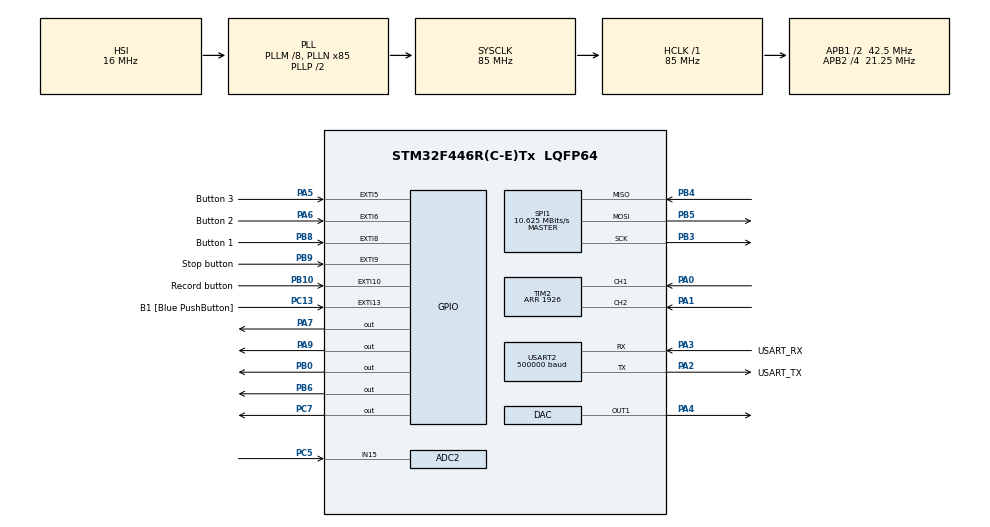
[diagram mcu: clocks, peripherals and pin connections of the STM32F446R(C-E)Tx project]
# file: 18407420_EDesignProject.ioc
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ADC2.Channel-1\#ChannelRegularConversion=ADC_CHANNEL_15
ADC2.DMAContinuousRequests=ENABLE
ADC2.ExternalTrigConv=ADC_EXTERNALTRIGCONV_T2_TRGO
ADC2.NbrOfConversionFlag=1
ADC2.Rank-1\#ChannelRegularConversion=1
ADC2.Resolution=ADC_RESOLUTION_8B
ADC2.SamplingTime-1\#ChannelRegularConversion=ADC_SAMPLETIME_3CYCLES
DAC.DAC_Trigger=DAC_TRIGGER_T6_TRGO
Dma.ADC2.2.Direction=DMA_PERIPH_TO_MEMORY
Dma.ADC2.2.FIFOMode=DMA_FIFOMODE_DISABLE
Dma.ADC2.2.Instance=DMA2_Stream2
Dma.ADC2.2.MemDataAlignment=DMA_MDATAALIGN_BYTE
Dma.ADC2.2.MemInc=DMA_MINC_ENABLE
Dma.ADC2.2.Mode=DMA_CIRCULAR
Dma.ADC2.2.PeriphDataAlignment=DMA_PDATAALIGN_BYTE
Dma.ADC2.2.PeriphInc=DMA_PINC_DISABLE
Dma.ADC2.2.Priority=DMA_PRIORITY_LOW
Dma.DAC1.0.Direction=DMA_MEMORY_TO_PERIPH
Dma.DAC1.0.FIFOMode=DMA_FIFOMODE_DISABLE
Dma.DAC1.0.Instance=DMA1_Stream5
Dma.DAC1.0.MemDataAlignment=DMA_MDATAALIGN_HALFWORD
Dma.DAC1.0.MemInc=DMA_MINC_ENABLE
Dma.DAC1.0.Mode=DMA_NORMAL
Dma.DAC1.0.PeriphDataAlignment=DMA_PDATAALIGN_HALFWORD
Dma.DAC1.0.PeriphInc=DMA_PINC_DISABLE
Dma.DAC1.0.Priority=DMA_PRIORITY_VERY_HIGH
Dma.Request0=DAC1
Dma.Request1=USART2_TX
Dma.Request2=ADC2
Dma.USART2_TX.1.Direction=DMA_MEMORY_TO_PERIPH
Dma.USART2_TX.1.FIFOMode=DMA_FIFOMODE_DISABLE
Dma.USART2_TX.1.Instance=DMA1_Stream6
Dma.USART2_TX.1.MemDataAlignment=DMA_MDATAALIGN_BYTE
Dma.USART2_TX.1.MemInc=DMA_MINC_ENABLE
Dma.USART2_TX.1.Mode=DMA_NORMAL
Dma.USART2_TX.1.PeriphDataAlignment=DMA_PDATAALIGN_BYTE
Dma.USART2_TX.1.PeriphInc=DMA_PINC_DISABLE
Dma.USART2_TX.1.Priority=DMA_PRIORITY_HIGH
Mcu.Family=STM32F4
Mcu.Name=STM32F446R(C-E)Tx
Mcu.Package=LQFP64
NVIC.DMA1_Stream5_IRQn=true\:0\:0\:false\:false\:true\:false\:true
NVIC.DMA1_Stream6_IRQn=true\:0\:0\:false\:false\:true\:false\:true
NVIC.DMA2_Stream2_IRQn=true\:0\:0\:false\:false\:true\:false\:true
NVIC.EXTI15_10_IRQn=true\:0\:0\:false\:false\:true\:true\:true
NVIC.EXTI9_5_IRQn=true\:0\:0\:false\:false\:true\:true\:true
NVIC.PriorityGroup=NVIC_PRIORITYGROUP_0
NVIC.TIM3_IRQn=true\:0\:0\:false\:false\:true\:true\:true
NVIC.USART2_IRQn=true\:0\:0\:false\:false\:true\:true\:true
PA0-WKUP.Signal=S_TIM2_CH1_ETR
PA1.Signal=S_TIM2_CH2
PA13.GPIO_Label=TMS
PA13.Mode=Serial_Wire
PA13.Signal=SYS_JTMS-SWDIO
PA14.GPIO_Label=TCK
PA14.Mode=Serial_Wire
PA14.Signal=SYS_JTCK-SWCLK
PA2.GPIO_Label=USART_TX
PA2.Mode=Asynchronous
PA2.Signal=USART2_TX
PA3.GPIO_Label=USART_RX
PA3.Mode=Asynchronous
PA3.Signal=USART2_RX
PA4.Signal=COMP_DAC1_group
PA5.GPIO_Label=Button 3
PA5.GPIO_ModeDefaultEXTI=GPIO_MODE_IT_FALLING
PA5.GPIO_PuPd=GPIO_PULLDOWN
PA5.Signal=GPXTI5
PA6.GPIO_Label=Button 2
PA6.GPIO_ModeDefaultEXTI=GPIO_MODE_IT_FALLING
PA6.GPIO_PuPd=GPIO_PULLDOWN
PA6.Signal=GPXTI6
PA7.Signal=GPIO_Output
PA9.Signal=GPIO_Output
PB0.Signal=GPIO_Output
PB10.GPIO_Label=Record button
PB10.GPIO_ModeDefaultEXTI=GPIO_MODE_IT_RISING_FALLING
PB10.GPIO_PuPd=GPIO_PULLDOWN
PB10.Signal=GPXTI10
PB3.Mode=Full_Duplex_Master
PB3.Signal=SPI1_SCK
PB4.Mode=Full_Duplex_Master
PB4.Signal=SPI1_MISO
PB5.Mode=Full_Duplex_Master
PB5.Signal=SPI1_MOSI
PB6.Signal=GPIO_Output
PB8.GPIO_Label=Button 1
PB8.GPIO_ModeDefaultEXTI=GPIO_MODE_IT_FALLING
PB8.GPIO_PuPd=GPIO_PULLDOWN
PB8.Signal=GPXTI8
PB9.GPIO_Label=Stop button
PB9.GPIO_ModeDefaultEXTI=GPIO_MODE_IT_FALLING
PB9.GPIO_PuPd=GPIO_PULLDOWN
PB9.Signal=GPXTI9
PC13.GPIO_Label=B1 [Blue PushButton]
PC13.GPIO_ModeDefaultEXTI=GPIO_MODE_IT_FALLING
PC13.Signal=GPXTI13
PC14-OSC32_IN.Signal=RCC_OSC32_IN
PC15-OSC32_OUT.Signal=RCC_OSC32_OUT
PC5.Signal=ADCx_IN15
PC7.Signal=GPIO_Output
PH0-OSC_IN.Mode=HSE-External-Oscillator
PH0-OSC_IN.Signal=RCC_OSC_IN
PH1-OSC_OUT.Mode=HSE-External-Oscillator
PH1-OSC_OUT.Signal=RCC_OSC_OUT
ProjectManager.HeapSize=0x200
ProjectManager.StackSize=0x400
ProjectManager.TargetToolchain=STM32CubeIDE
RCC.48MHZClocksFreq_Value=84000000
RCC.AHBFreq_Value=85000000
RCC.APB1CLKDivider=RCC_HCLK_DIV2
RCC.APB1Freq_Value=42500000
RCC.APB1TimFreq_Value=85000000
RCC.APB2CLKDivider=RCC_HCLK_DIV4
RCC.APB2Freq_Value=21250000
RCC.APB2TimFreq_Value=42500000
RCC.CortexFreq_Value=85000000
RCC.FLatency-AdvancedSettings=FLASH_LATENCY_2
RCC.HCLKFreq_Value=85000000
RCC.HSE_VALUE=8000000
RCC.HSI_VALUE=16000000
RCC.PLLM=8
RCC.PLLN=85
RCC.SYSCLKFreq_VALUE=85000000
RCC.SYSCLKSource=RCC_SYSCLKSOURCE_PLLCLK
RCC.USBFreq_Value=85000000
RCC.VCOOutputFreq_Value=170000000
SH.ADCx_IN15.0=ADC2_IN15,IN15
SH.COMP_DAC1_group.0=DAC_OUT1,DAC_OUT1
SH.S_TIM2_CH1_ETR.0=TIM2_CH1,Input_Capture1_from_TI1
SH.S_TIM2_CH2.0=TIM2_CH2,Input_Capture2_from_TI2
SPI1.BaudRatePrescaler=SPI_BAUDRATEPRESCALER_2
SPI1.CalculateBaudRate=10.625 MBits/s
SPI1.Direction=SPI_DIRECTION_2LINES
SPI1.Mode=SPI_MODE_MASTER
SPI1.VirtualType=VM_MASTER
TIM2.Channel-Input_Capture1_from_TI1=TIM_CHANNEL_1
TIM2.Channel-Input_Capture2_from_TI2=TIM_CHANNEL_2
TIM2.Period=1926
TIM2.TIM_MasterOutputTrigger=TIM_TRGO_UPDATE
TIM3.Period=4277
TIM3.Prescaler=4968
TIM3.TIM_MasterOutputTrigger=TIM_TRGO_UPDATE
TIM3.TIM_MasterSlaveMode=TIM_MASTERSLAVEMODE_DISABLE
TIM6.Period=1926
TIM6.TIM_MasterOutputTrigger=TIM_TRGO_UPDATE
USART2.BaudRate=500000
USART2.VirtualMode=VM_ASYNC
VP_TIM2_VS_ClockSourceINT.Mode=Internal
VP_TIM3_VS_ClockSourceINT.Mode=Internal
VP_TIM3_VS_ClockSourceITR.Mode=TriggerSource_ITR0
VP_TIM6_VS_ClockSourceINT.Mode=Enable_Timer
board=NUCLEO-F446RE

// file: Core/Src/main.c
/* USER CODE BEGIN Header */
/**
  ******************************************************************************
  * @file           : main.c
  * @brief          : Main program body
  ******************************************************************************
  * @attention
  *
  * <h2><center>&copy; Copyright (c) 2020 STMicroelectronics.
  * All rights reserved.</center></h2>
  *
  * This software component is licensed by ST under BSD 3-Clause license,
  * the "License"; You may not use this file except in compliance with the
  * License. You may obtain a copy of the License at:
  *                        opensource.org/licenses/BSD-3-Clause
  *
  ******************************************************************************
  */
/* USER CODE END Header */
#include "main.h"

/* USER CODE BEGIN Includes */
#include "MyFunctions.h"
#include "sinewave.h"
/* USER CODE END Includes */

ADC_HandleTypeDef hadc2;
DMA_HandleTypeDef hdma_adc2;

DAC_HandleTypeDef hdac;
DMA_HandleTypeDef hdma_dac1;

SPI_HandleTypeDef hspi1;

TIM_HandleTypeDef htim2;
TIM_HandleTypeDef htim3;
TIM_HandleTypeDef htim6;

UART_HandleTypeDef huart2;
DMA_HandleTypeDef hdma_usart2_tx;

/* USER CODE BEGIN PV */

enum buttonstate{Released, Pressed};

extern volatile uint8_t Record_button;
extern volatile uint8_t button1;
extern volatile uint8_t button2;
extern volatile uint8_t button3;
extern volatile uint8_t Stop_button;
volatile uint8_t buttn = 0;

AUDIO_ModeType state = AUDIO_MODE_IDLE;

/* USER CODE END PV */

void SystemClock_Config(void);
static void MX_GPIO_Init(void);
static void MX_DMA_Init(void);
static void MX_USART2_UART_Init(void);
static void MX_TIM3_Init(void);
static void MX_DAC_Init(void);
static void MX_TIM6_Init(void);
static void MX_TIM2_Init(void);
static void MX_ADC2_Init(void);
static void MX_SPI1_Init(void);

/* USER CODE BEGIN 0 */

int32_t tempsample;
int8_t outputbuf[FULLBUFFERSZE];

int32_t average = 128;
int32_t accumulator;
int32_t numavg;
float smoothed_sample;

 void HAL_ADC_ConvCpltCallback(ADC_HandleTypeDef* hadc){

	 huart2.gState = HAL_UART_STATE_READY;

	 for(int i = 512; i < FULLBUFFERSZE; i++){

		 accumulator += myADC_Signal_1[i];
		 tempsample = (int32_t)myADC_Signal_1 - average;
		 smoothed_sample = 0.125f * tempsample + 0.875 * smoothed_sample;
		 tempsample = (int32_t)smoothed_sample;

		 if(tempsample > 127)
			 tempsample = 127;
		 if(tempsample < - 128)
			 tempsample = -128;

		 outputbuf[i] = (int8_t)tempsample;

	 }

	 numavg += 512;

	 if(numavg >= 20480){

		 average = accumulator / 20480;
		 accumulator = 0;
		 numavg = 0;
	 }

	 HAL_UART_Transmit_DMA(&huart2, (int8_t*)outputbuf+DATASIZE, DATASIZE);

 }

 void HAL_ADC_ConvHalfCpltCallback(ADC_HandleTypeDef* hadc){

	 huart2.gState = HAL_UART_STATE_READY;

	 for(int i = 0; i < DATASIZE; i++){

		 accumulator += myADC_Signal_1[i];
		 tempsample = (int32_t)myADC_Signal_1 - average;
		 smoothed_sample = 0.125f * tempsample + 0.875 * smoothed_sample;
		 tempsample = (int32_t)smoothed_sample;

		 if(tempsample > 127)
			 tempsample = 127;
		 if(tempsample < - 128)
			 tempsample = -128;

		 outputbuf[i] = (int8_t)tempsample;

	 }

	 numavg += 512;

	 if(numavg >= 20480){

		 average = accumulator / 20480;
		 accumulator = 0;
		 numavg = 0;
	 }

	 HAL_UART_Transmit_DMA(&huart2, (int8_t*)outputbuf, DATASIZE);

 }

 void HAL_DAC_ConvCpltCallbackCh1(DAC_HandleTypeDef* hdac){

	 HAL_DAC_Start_DMA(hdac, DAC_CHANNEL_1, (uint32_t*)myDAC_Signal_1, FULLBUFFERSZE, DAC_ALIGN_12B_R);
	 //wave_fillbuffer(myDAC_Signal+512, buttn, 512);

 }

 void HAL_DAC_ConvHalfCpltCallbackCh1(DAC_HandleTypeDef* hdac){

	 HAL_DAC_Start_DMA(hdac, DAC_CHANNEL_1, (uint32_t*)myDAC_Signal_1, FULLBUFFERSZE, DAC_ALIGN_12B_R);
	 //wave_fillbuffer(myDAC_Signal, buttn, 512);

 }

/* USER CODE END 0 */

int main(void)
{
  /* USER CODE BEGIN 1 */
	 uint8_t SU_ID[10] = {127, 128,'1','8','4','0','7','4','2','0'};

  wave_init();
  /* USER CODE END 1 */

  /* MCU Configuration--------------------------------------------------------*/

  /* Reset of all peripherals, Initializes the Flash interface and the Systick. */
  HAL_Init();

  /* Configure the system clock */
  SystemClock_Config();

  /* Initialize all configured peripherals */
  MX_GPIO_Init();
  MX_DMA_Init();
  MX_USART2_UART_Init();
  MX_TIM3_Init();
  MX_DAC_Init();
  MX_TIM6_Init();
  MX_TIM2_Init();
  MX_ADC2_Init();
  MX_SPI1_Init();
  /* USER CODE BEGIN 2 */
  __HAL_TIM_ENABLE(&htim3);
  __HAL_TIM_ENABLE_IT(&htim3, TIM_IT_UPDATE);

  HAL_UART_Transmit(&huart2, SU_ID, 10, 1000);

  //1. Enable Timer 2, 6:

  HAL_TIM_Base_Start(&htim6);
  HAL_TIM_Base_Start(&htim2);

  HAL_ADC_Start_DMA(&hadc2, (uint32_t*)myADC_Signal_1, FULLBUFFERSZE);
  __HAL_TIM_ENABLE(&htim2);

  //delete code testing123....
  HAL_DAC_Start_DMA(&hdac, DAC_CHANNEL_1, (uint32_t*)myDAC_Signal_1, FULLBUFFERSZE, DAC_ALIGN_12B_R);

  //wave_init();
  /* USER CODE END 2 */

  /* Infinite loop */
  while (1)
  {

    /* USER CODE BEGIN 3 */

           switch(state){

           case AUDIO_MODE_IDLE:

        	   //Check for recording:
        	   //if(Record_button ==  Pressed){ //While it held down check if:

        		   if((button1 == Pressed) && (Record_button ==  Pressed)){
        			   state = AUDIO_MODE_RECORDING_1;
        		   }

        		   else if((button2 == Pressed) && (Record_button ==  Pressed)){
        			   state = AUDIO_MODE_RECORDING_2;
        		   }

        		   else if((button3 == Pressed) && (Record_button ==  Pressed)){
        			   state = AUDIO_MODE_RECORDING_3;
        		   }
        	   //}

                //HAL_Delay(2);

        	   //Playback check:
        	   if((button1 == Pressed)  && (Record_button ==  Released)){

        		   buttn = 1;
        		   state = AUDIO_MODE_PLAYING_1;

        	   }

        	   else if((button2 == Pressed)  && (Record_button ==  Released)){

        		   buttn = 2;
        		   state = AUDIO_MODE_PLAYING_2;

        	   }

        	   else if((button3 == Pressed)  && (Record_button ==  Released)){

        		   buttn = 3;
        		   state = AUDIO_MODE_PLAYING_3;

        	   }

		       break;

           case AUDIO_MODE_RECORDING_1:

        	   uart_transmit_record(1);
        	   HAL_GPIO_WritePin(GPIOA, GPIO_PIN_9, GPIO_PIN_SET);
        	   led_flicker(GPIOA, GPIO_PIN_7);

		       break;

           case AUDIO_MODE_RECORDING_2:

        	   uart_transmit_record(2);
        	   HAL_GPIO_WritePin(GPIOA, GPIO_PIN_9, GPIO_PIN_SET);
        	   led_flicker(GPIOB, GPIO_PIN_6);

		       break;

           case AUDIO_MODE_RECORDING_3:

        	   uart_transmit_record(3);
        	   HAL_GPIO_WritePin(GPIOA, GPIO_PIN_9, GPIO_PIN_SET);
        	   led_flicker(GPIOC, GPIO_PIN_7);

		       break;

           case AUDIO_MODE_PLAYING_1:

        	   uart_transmit_playback(1);
        	   led_flicker(GPIOA, GPIO_PIN_7);

		       break;

           case AUDIO_MODE_PLAYING_2:

        	   uart_transmit_playback(2);
        	   led_flicker(GPIOB, GPIO_PIN_6);

		       break;

           case AUDIO_MODE_PLAYING_3:

        	   uart_transmit_playback(3);
        	   led_flicker(GPIOC, GPIO_PIN_7);

		       break;

           }

	}

  }

//
  /* USER CODE END 3 */

void SystemClock_Config(void)
{
  RCC_OscInitTypeDef RCC_OscInitStruct = {0};
  RCC_ClkInitTypeDef RCC_ClkInitStruct = {0};

  /** Configure the main internal regulator output voltage
  */
  __HAL_RCC_PWR_CLK_ENABLE();
  __HAL_PWR_VOLTAGESCALING_CONFIG(PWR_REGULATOR_VOLTAGE_SCALE3);
  /** Initializes the RCC Oscillators according to the specified parameters
  * in the RCC_OscInitTypeDef structure.
  */
  RCC_OscInitStruct.OscillatorType = RCC_OSCILLATORTYPE_HSI;
  RCC_OscInitStruct.HSIState = RCC_HSI_ON;
  RCC_OscInitStruct.HSICalibrationValue = RCC_HSICALIBRATION_DEFAULT;
  RCC_OscInitStruct.PLL.PLLState = RCC_PLL_ON;
  RCC_OscInitStruct.PLL.PLLSource = RCC_PLLSOURCE_HSI;
  RCC_OscInitStruct.PLL.PLLM = 8;
  RCC_OscInitStruct.PLL.PLLN = 85;
  RCC_OscInitStruct.PLL.PLLP = RCC_PLLP_DIV2;
  RCC_OscInitStruct.PLL.PLLQ = 2;
  RCC_OscInitStruct.PLL.PLLR = 2;
  if (HAL_RCC_OscConfig(&RCC_OscInitStruct) != HAL_OK)
  {
    Error_Handler();
  }
  /** Initializes the CPU, AHB and APB buses clocks
  */
  RCC_ClkInitStruct.ClockType = RCC_CLOCKTYPE_HCLK|RCC_CLOCKTYPE_SYSCLK
                              |RCC_CLOCKTYPE_PCLK1|RCC_CLOCKTYPE_PCLK2;
  RCC_ClkInitStruct.SYSCLKSource = RCC_SYSCLKSOURCE_PLLCLK;
  RCC_ClkInitStruct.AHBCLKDivider = RCC_SYSCLK_DIV1;
  RCC_ClkInitStruct.APB1CLKDivider = RCC_HCLK_DIV2;
  RCC_ClkInitStruct.APB2CLKDivider = RCC_HCLK_DIV4;

  if (HAL_RCC_ClockConfig(&RCC_ClkInitStruct, FLASH_LATENCY_2) != HAL_OK)
  {
    Error_Handler();
  }
}

static void MX_ADC2_Init(void)
{

  ADC_ChannelConfTypeDef sConfig = {0};

  /** Configure the global features of the ADC (Clock, Resolution, Data Alignment and number of conversion)
  */
  hadc2.Instance = ADC2;
  hadc2.Init.ClockPrescaler = ADC_CLOCK_SYNC_PCLK_DIV2;
  hadc2.Init.Resolution = ADC_RESOLUTION_8B;
  hadc2.Init.ScanConvMode = DISABLE;
  hadc2.Init.ContinuousConvMode = DISABLE;
  hadc2.Init.DiscontinuousConvMode = DISABLE;
  hadc2.Init.ExternalTrigConvEdge = ADC_EXTERNALTRIGCONVEDGE_RISING;
  hadc2.Init.ExternalTrigConv = ADC_EXTERNALTRIGCONV_T2_TRGO;
  hadc2.Init.DataAlign = ADC_DATAALIGN_RIGHT;
  hadc2.Init.NbrOfConversion = 1;
  hadc2.Init.DMAContinuousRequests = ENABLE;
  hadc2.Init.EOCSelection = ADC_EOC_SINGLE_CONV;
  if (HAL_ADC_Init(&hadc2) != HAL_OK)
  {
    Error_Handler();
  }
  /** Configure for the selected ADC regular channel its corresponding rank in the sequencer and its sample time.
  */
  sConfig.Channel = ADC_CHANNEL_15;
  sConfig.Rank = 1;
  sConfig.SamplingTime = ADC_SAMPLETIME_3CYCLES;
  if (HAL_ADC_ConfigChannel(&hadc2, &sConfig) != HAL_OK)
  {
    Error_Handler();
  }

}

static void MX_DAC_Init(void)
{

  DAC_ChannelConfTypeDef sConfig = {0};

  /** DAC Initialization
  */
  hdac.Instance = DAC;
  if (HAL_DAC_Init(&hdac) != HAL_OK)
  {
    Error_Handler();
  }
  /** DAC channel OUT1 config
  */
  sConfig.DAC_Trigger = DAC_TRIGGER_T6_TRGO;
  sConfig.DAC_OutputBuffer = DAC_OUTPUTBUFFER_ENABLE;
  if (HAL_DAC_ConfigChannel(&hdac, &sConfig, DAC_CHANNEL_1) != HAL_OK)
  {
    Error_Handler();
  }

}

static void MX_SPI1_Init(void)
{

  /* SPI1 parameter configuration*/
  hspi1.Instance = SPI1;
  hspi1.Init.Mode = SPI_MODE_MASTER;
  hspi1.Init.Direction = SPI_DIRECTION_2LINES;
  hspi1.Init.DataSize = SPI_DATASIZE_8BIT;
  hspi1.Init.CLKPolarity = SPI_POLARITY_LOW;
  hspi1.Init.CLKPhase = SPI_PHASE_1EDGE;
  hspi1.Init.NSS = SPI_NSS_SOFT;
  hspi1.Init.BaudRatePrescaler = SPI_BAUDRATEPRESCALER_2;
  hspi1.Init.FirstBit = SPI_FIRSTBIT_MSB;
  hspi1.Init.TIMode = SPI_TIMODE_DISABLE;
  hspi1.Init.CRCCalculation = SPI_CRCCALCULATION_DISABLE;
  hspi1.Init.CRCPolynomial = 10;
  if (HAL_SPI_Init(&hspi1) != HAL_OK)
  {
    Error_Handler();
  }

}

static void MX_TIM2_Init(void)
{

  TIM_ClockConfigTypeDef sClockSourceConfig = {0};
  TIM_MasterConfigTypeDef sMasterConfig = {0};
  TIM_IC_InitTypeDef sConfigIC = {0};

  htim2.Instance = TIM2;
  htim2.Init.Prescaler = 0;
  htim2.Init.CounterMode = TIM_COUNTERMODE_UP;
  htim2.Init.Period = 1926;
  htim2.Init.ClockDivision = TIM_CLOCKDIVISION_DIV1;
  htim2.Init.AutoReloadPreload = TIM_AUTORELOAD_PRELOAD_DISABLE;
  if (HAL_TIM_Base_Init(&htim2) != HAL_OK)
  {
    Error_Handler();
  }
  sClockSourceConfig.ClockSource = TIM_CLOCKSOURCE_INTERNAL;
  if (HAL_TIM_ConfigClockSource(&htim2, &sClockSourceConfig) != HAL_OK)
  {
    Error_Handler();
  }
  if (HAL_TIM_IC_Init(&htim2) != HAL_OK)
  {
    Error_Handler();
  }
  sMasterConfig.MasterOutputTrigger = TIM_TRGO_UPDATE;
  sMasterConfig.MasterSlaveMode = TIM_MASTERSLAVEMODE_DISABLE;
  if (HAL_TIMEx_MasterConfigSynchronization(&htim2, &sMasterConfig) != HAL_OK)
  {
    Error_Handler();
  }
  sConfigIC.ICPolarity = TIM_INPUTCHANNELPOLARITY_RISING;
  sConfigIC.ICSelection = TIM_ICSELECTION_DIRECTTI;
  sConfigIC.ICPrescaler = TIM_ICPSC_DIV1;
  sConfigIC.ICFilter = 0;
  if (HAL_TIM_IC_ConfigChannel(&htim2, &sConfigIC, TIM_CHANNEL_1) != HAL_OK)
  {
    Error_Handler();
  }
  if (HAL_TIM_IC_ConfigChannel(&htim2, &sConfigIC, TIM_CHANNEL_2) != HAL_OK)
  {
    Error_Handler();
  }

}

static void MX_TIM3_Init(void)
{

  TIM_ClockConfigTypeDef sClockSourceConfig = {0};
  TIM_SlaveConfigTypeDef sSlaveConfig = {0};
  TIM_MasterConfigTypeDef sMasterConfig = {0};

  htim3.Instance = TIM3;
  htim3.Init.Prescaler = 4968;
  htim3.Init.CounterMode = TIM_COUNTERMODE_UP;
  htim3.Init.Period = 4277;
  htim3.Init.ClockDivision = TIM_CLOCKDIVISION_DIV1;
  htim3.Init.AutoReloadPreload = TIM_AUTORELOAD_PRELOAD_DISABLE;
  if (HAL_TIM_Base_Init(&htim3) != HAL_OK)
  {
    Error_Handler();
  }
  sClockSourceConfig.ClockSource = TIM_CLOCKSOURCE_INTERNAL;
  if (HAL_TIM_ConfigClockSource(&htim3, &sClockSourceConfig) != HAL_OK)
  {
    Error_Handler();
  }
  sSlaveConfig.SlaveMode = TIM_SLAVEMODE_DISABLE;
  sSlaveConfig.InputTrigger = TIM_TS_ITR0;
  if (HAL_TIM_SlaveConfigSynchro(&htim3, &sSlaveConfig) != HAL_OK)
  {
    Error_Handler();
  }
  sMasterConfig.MasterOutputTrigger = TIM_TRGO_UPDATE;
  sMasterConfig.MasterSlaveMode = TIM_MASTERSLAVEMODE_DISABLE;
  if (HAL_TIMEx_MasterConfigSynchronization(&htim3, &sMasterConfig) != HAL_OK)
  {
    Error_Handler();
  }

}

static void MX_TIM6_Init(void)
{

  TIM_MasterConfigTypeDef sMasterConfig = {0};

  htim6.Instance = TIM6;
  htim6.Init.Prescaler = 0;
  htim6.Init.CounterMode = TIM_COUNTERMODE_UP;
  htim6.Init.Period = 1926;
  htim6.Init.AutoReloadPreload = TIM_AUTORELOAD_PRELOAD_DISABLE;
  if (HAL_TIM_Base_Init(&htim6) != HAL_OK)
  {
    Error_Handler();
  }
  sMasterConfig.MasterOutputTrigger = TIM_TRGO_UPDATE;
  sMasterConfig.MasterSlaveMode = TIM_MASTERSLAVEMODE_DISABLE;
  if (HAL_TIMEx_MasterConfigSynchronization(&htim6, &sMasterConfig) != HAL_OK)
  {
    Error_Handler();
  }

}

static void MX_USART2_UART_Init(void)
{

  huart2.Instance = USART2;
  huart2.Init.BaudRate = 500000;
  huart2.Init.WordLength = UART_WORDLENGTH_8B;
  huart2.Init.StopBits = UART_STOPBITS_1;
  huart2.Init.Parity = UART_PARITY_NONE;
  huart2.Init.Mode = UART_MODE_TX_RX;
  huart2.Init.HwFlowCtl = UART_HWCONTROL_NONE;
  huart2.Init.OverSampling = UART_OVERSAMPLING_16;
  if (HAL_UART_Init(&huart2) != HAL_OK)
  {
    Error_Handler();
  }

}

static void MX_DMA_Init(void)
{

  /* DMA controller clock enable */
  __HAL_RCC_DMA1_CLK_ENABLE();
  __HAL_RCC_DMA2_CLK_ENABLE();

  /* DMA interrupt init */
  /* DMA1_Stream5_IRQn interrupt configuration */
  HAL_NVIC_SetPriority(DMA1_Stream5_IRQn, 0, 0);
  HAL_NVIC_EnableIRQ(DMA1_Stream5_IRQn);
  /* DMA1_Stream6_IRQn interrupt configuration */
  HAL_NVIC_SetPriority(DMA1_Stream6_IRQn, 0, 0);
  HAL_NVIC_EnableIRQ(DMA1_Stream6_IRQn);
  /* DMA2_Stream2_IRQn interrupt configuration */
  HAL_NVIC_SetPriority(DMA2_Stream2_IRQn, 0, 0);
  HAL_NVIC_EnableIRQ(DMA2_Stream2_IRQn);

}

static void MX_GPIO_Init(void)
{
  GPIO_InitTypeDef GPIO_InitStruct = {0};

  /* GPIO Ports Clock Enable */
  __HAL_RCC_GPIOC_CLK_ENABLE();
  __HAL_RCC_GPIOH_CLK_ENABLE();
  __HAL_RCC_GPIOA_CLK_ENABLE();
  __HAL_RCC_GPIOB_CLK_ENABLE();

  /*Configure GPIO pin Output Level */
  HAL_GPIO_WritePin(GPIOA, GPIO_PIN_7|GPIO_PIN_9, GPIO_PIN_RESET);

  /*Configure GPIO pin Output Level */
  HAL_GPIO_WritePin(GPIOB, GPIO_PIN_0|GPIO_PIN_6, GPIO_PIN_RESET);

  /*Configure GPIO pin Output Level */
  HAL_GPIO_WritePin(GPIOC, GPIO_PIN_7, GPIO_PIN_RESET);

  /*Configure GPIO pin : B1_Pin */
  GPIO_InitStruct.Pin = B1_Pin;
  GPIO_InitStruct.Mode = GPIO_MODE_IT_FALLING;
  GPIO_InitStruct.Pull = GPIO_NOPULL;
  HAL_GPIO_Init(B1_GPIO_Port, &GPIO_InitStruct);

  /*Configure GPIO pins : Button_3_Pin Button_2_Pin */
  GPIO_InitStruct.Pin = Button_3_Pin|Button_2_Pin;
  GPIO_InitStruct.Mode = GPIO_MODE_IT_FALLING;
  GPIO_InitStruct.Pull = GPIO_PULLDOWN;
  HAL_GPIO_Init(GPIOA, &GPIO_InitStruct);

  /*Configure GPIO pins : PA7 PA9 */
  GPIO_InitStruct.Pin = GPIO_PIN_7|GPIO_PIN_9;
  GPIO_InitStruct.Mode = GPIO_MODE_OUTPUT_PP;
  GPIO_InitStruct.Pull = GPIO_NOPULL;
  GPIO_InitStruct.Speed = GPIO_SPEED_FREQ_LOW;
  HAL_GPIO_Init(GPIOA, &GPIO_InitStruct);

  /*Configure GPIO pins : PB0 PB6 */
  GPIO_InitStruct.Pin = GPIO_PIN_0|GPIO_PIN_6;
  GPIO_InitStruct.Mode = GPIO_MODE_OUTPUT_PP;
  GPIO_InitStruct.Pull = GPIO_NOPULL;
  GPIO_InitStruct.Speed = GPIO_SPEED_FREQ_LOW;
  HAL_GPIO_Init(GPIOB, &GPIO_InitStruct);

  /*Configure GPIO pin : Record_button_Pin */
  GPIO_InitStruct.Pin = Record_button_Pin;
  GPIO_InitStruct.Mode = GPIO_MODE_IT_RISING_FALLING;
  GPIO_InitStruct.Pull = GPIO_PULLDOWN;
  HAL_GPIO_Init(Record_button_GPIO_Port, &GPIO_InitStruct);

  /*Configure GPIO pin : PC7 */
  GPIO_InitStruct.Pin = GPIO_PIN_7;
  GPIO_InitStruct.Mode = GPIO_MODE_OUTPUT_PP;
  GPIO_InitStruct.Pull = GPIO_NOPULL;
  GPIO_InitStruct.Speed = GPIO_SPEED_FREQ_LOW;
  HAL_GPIO_Init(GPIOC, &GPIO_InitStruct);

  /*Configure GPIO pins : Button_1_Pin Stop_button_Pin */
  GPIO_InitStruct.Pin = Button_1_Pin|Stop_button_Pin;
  GPIO_InitStruct.Mode = GPIO_MODE_IT_FALLING;
  GPIO_InitStruct.Pull = GPIO_PULLDOWN;
  HAL_GPIO_Init(GPIOB, &GPIO_InitStruct);

  /* EXTI interrupt init*/
  HAL_NVIC_SetPriority(EXTI9_5_IRQn, 0, 0);
  HAL_NVIC_EnableIRQ(EXTI9_5_IRQn);

  HAL_NVIC_SetPriority(EXTI15_10_IRQn, 0, 0);
  HAL_NVIC_EnableIRQ(EXTI15_10_IRQn);

}

void Error_Handler(void)
{
}

/************************ (C) COPYRIGHT STMicroelectronics *****END OF FILE****/
